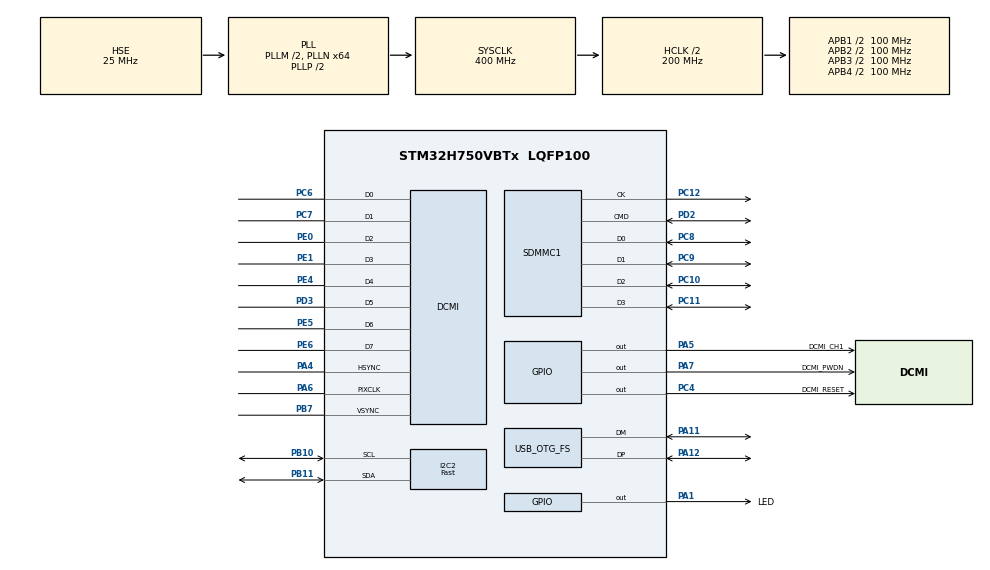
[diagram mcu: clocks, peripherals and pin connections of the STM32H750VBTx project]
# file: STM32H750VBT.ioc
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DCMI.JPEGMode=DCMI_JPEG_ENABLE
DCMI.PCKPolarity=DCMI_PCKPOLARITY_RISING
Dma.DCMI.0.Direction=DMA_PERIPH_TO_MEMORY
Dma.DCMI.0.EventEnable=DISABLE
Dma.DCMI.0.FIFOMode=DMA_FIFOMODE_ENABLE
Dma.DCMI.0.FIFOThreshold=DMA_FIFO_THRESHOLD_FULL
Dma.DCMI.0.Instance=DMA1_Stream0
Dma.DCMI.0.MemBurst=DMA_MBURST_SINGLE
Dma.DCMI.0.MemDataAlignment=DMA_MDATAALIGN_WORD
Dma.DCMI.0.MemInc=DMA_MINC_ENABLE
Dma.DCMI.0.Mode=DMA_CIRCULAR
Dma.DCMI.0.PeriphBurst=DMA_PBURST_SINGLE
Dma.DCMI.0.PeriphDataAlignment=DMA_PDATAALIGN_WORD
Dma.DCMI.0.PeriphInc=DMA_PINC_DISABLE
Dma.DCMI.0.Polarity=HAL_DMAMUX_REQ_GEN_RISING
Dma.DCMI.0.Priority=DMA_PRIORITY_VERY_HIGH
Dma.DCMI.0.RequestNumber=1
Dma.DCMI.0.SignalID=NONE
Dma.DCMI.0.SyncEnable=DISABLE
Dma.DCMI.0.SyncPolarity=HAL_DMAMUX_SYNC_NO_EVENT
Dma.DCMI.0.SyncRequestNumber=1
Dma.DCMI.0.SyncSignalID=NONE
Dma.Request0=DCMI
FATFS._CODE_PAGE=437
FATFS._USE_LFN=2
I2C2.I2C_Speed_Mode=I2C_Fast
I2C2.Timing=0x009034B6
Mcu.Family=STM32H7
Mcu.Name=STM32H750VBTx
Mcu.Package=LQFP100
NVIC.DCMI_IRQn=true\:0\:0\:false\:false\:true\:true\:true
NVIC.DMA1_Stream0_IRQn=true\:0\:0\:false\:false\:true\:false\:true
NVIC.OTG_FS_IRQn=true\:1\:0\:true\:false\:true\:false\:true
NVIC.PriorityGroup=NVIC_PRIORITYGROUP_4
NVIC.SDMMC1_IRQn=true\:0\:0\:false\:false\:true\:true\:true
PA1.GPIO_Label=LED
PA1.Signal=GPIO_Output
PA11.Mode=Device_Only
PA11.Signal=USB_OTG_FS_DM
PA12.Mode=Device_Only
PA12.Signal=USB_OTG_FS_DP
PA4.Mode=Slave_8_bits_External_Synchro
PA4.Signal=DCMI_HSYNC
PA5.GPIO_Label=DCMI_CH1
PA5.Signal=GPIO_Output
PA6.Mode=Slave_8_bits_External_Synchro
PA6.Signal=DCMI_PIXCLK
PA7.GPIO_Label=DCMI_PWDN
PA7.Signal=GPIO_Output
PB10.Mode=I2C
PB10.Signal=I2C2_SCL
PB11.Mode=I2C
PB11.Signal=I2C2_SDA
PB7.Mode=Slave_8_bits_External_Synchro
PB7.Signal=DCMI_VSYNC
PC10.GPIO_PuPd=GPIO_PULLUP
PC10.Mode=SD_4_bits_Wide_bus
PC10.Signal=SDMMC1_D2
PC11.GPIO_PuPd=GPIO_PULLUP
PC11.Mode=SD_4_bits_Wide_bus
PC11.Signal=SDMMC1_D3
PC12.Mode=SD_4_bits_Wide_bus
PC12.Signal=SDMMC1_CK
PC14-OSC32_IN\ (OSC32_IN).Mode=LSE-External-Oscillator
PC14-OSC32_IN\ (OSC32_IN).Signal=RCC_OSC32_IN
PC15-OSC32_OUT\ (OSC32_OUT).Mode=LSE-External-Oscillator
PC15-OSC32_OUT\ (OSC32_OUT).Signal=RCC_OSC32_OUT
PC4.GPIO_Label=DCMI_RESET
PC4.Signal=GPIO_Output
PC6.Mode=Slave_8_bits_External_Synchro
PC6.Signal=DCMI_D0
PC7.Mode=Slave_8_bits_External_Synchro
PC7.Signal=DCMI_D1
PC8.GPIO_PuPd=GPIO_PULLUP
PC8.Mode=SD_4_bits_Wide_bus
PC8.Signal=SDMMC1_D0
PC9.GPIO_PuPd=GPIO_PULLUP
PC9.Mode=SD_4_bits_Wide_bus
PC9.Signal=SDMMC1_D1
PD2.GPIO_PuPd=GPIO_PULLUP
PD2.Mode=SD_4_bits_Wide_bus
PD2.Signal=SDMMC1_CMD
PD3.Mode=Slave_8_bits_External_Synchro
PD3.Signal=DCMI_D5
PE0.Mode=Slave_8_bits_External_Synchro
PE0.Signal=DCMI_D2
PE1.Mode=Slave_8_bits_External_Synchro
PE1.Signal=DCMI_D3
PE4.Mode=Slave_8_bits_External_Synchro
PE4.Signal=DCMI_D4
PE5.Mode=Slave_8_bits_External_Synchro
PE5.Signal=DCMI_D6
PE6.Mode=Slave_8_bits_External_Synchro
PE6.Signal=DCMI_D7
PH0-OSC_IN\ (PH0).Mode=HSE-External-Oscillator
PH0-OSC_IN\ (PH0).Signal=RCC_OSC_IN
PH1-OSC_OUT\ (PH1).Mode=HSE-External-Oscillator
PH1-OSC_OUT\ (PH1).Signal=RCC_OSC_OUT
ProjectManager.HeapSize=0x4000
ProjectManager.StackSize=0x4000
ProjectManager.TargetToolchain=MDK-ARM V5.32
RCC.ADCFreq_Value=50390625
RCC.APB1Freq_Value=100000000
RCC.APB2Freq_Value=100000000
RCC.APB3Freq_Value=100000000
RCC.APB4Freq_Value=100000000
RCC.CortexFreq_Value=400000000
RCC.D1PPRE=RCC_APB3_DIV2
RCC.D2PPRE1=RCC_APB1_DIV2
RCC.D2PPRE2=RCC_APB2_DIV2
RCC.D3PPRE=RCC_APB4_DIV2
RCC.DIVM1=2
RCC.DIVN1=64
RCC.DIVQ1=50
RCC.HCLKFreq_Value=200000000
RCC.HPRE=RCC_HCLK_DIV2
RCC.PLL1_VCI_Range=RCC_PLL1VCIRANGE_3
RCC.PLL2FRACN=0
RCC.PLL3FRACN=0
RCC.PLLFRACN=0
RCC.PLLSourceVirtual=RCC_PLLSOURCE_HSE
RCC.PWR_Regulator_Voltage_Scale=PWR_REGULATOR_VOLTAGE_SCALE1
RCC.SYSCLKFreq_VALUE=400000000
RCC.SYSCLKSource=RCC_SYSCLKSOURCE_PLLCLK
RCC.USBCLockSelection=RCC_USBCLKSOURCE_HSI48
RCC.USBFreq_Value=48000000
SDMMC1.ClockDiv=0
USB_DEVICE.CLASS_NAME_FS=CDC
USB_DEVICE.VirtualMode-CDC_FS=Cdc
USB_DEVICE.VirtualModeFS=Cdc_FS
USB_OTG_FS.VirtualMode=Device_Only
VP_FATFS_VS_SDIO.Mode=SDIO
VP_USB_DEVICE_VS_USB_DEVICE_CDC_FS.Mode=CDC_FS
board=custom

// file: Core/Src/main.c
/* USER CODE BEGIN Header */
/**
 ******************************************************************************
 * @file           : main.c
 * @brief          : Main program body
 ******************************************************************************
 * @attention
 *
 * Copyright (c) 2021 STMicroelectronics.
 * All rights reserved.
 *
 * This software is licensed under terms that can be found in the LICENSE file
 * in the root directory of this software component.
 * If no LICENSE file comes with this software, it is provided AS-IS.
 *
 ******************************************************************************
 */
/* USER CODE END Header */
#include "main.h"
#include "dcmi.h"
#include "dma.h"
#include "fatfs.h"
#include "i2c.h"
#include "sdmmc.h"
#include "usb_device.h"
#include "gpio.h"

/* USER CODE BEGIN Includes */
#include <stdio.h>
#include "OV2640.h"
#include "usbd_cdc_if.h"

/* USER CODE END Includes */

/* USER CODE BEGIN PD */
#define MY_GET_TICK() printf("tick: %d\r\n", HAL_GetTick())
uint8_t jpgok = 0;

/* USER CODE END PD */

/* USER CODE BEGIN PV */
volatile uint8_t MY_USB_OK;

uint32_t byteswritten;                                /* File write counts */
uint32_t bytesread;                                   /* File read counts */
uint8_t wtext[] = "This is STM32 working with FatFs"; /* File write buffer */
uint8_t rtext[100];                                   /* File read buffers */
char filename[] = "0:s";

int sdcard_status = 0;
HAL_SD_CardCIDTypedef sdcard_cid;

/* USER CODE END PV */

void SystemClock_Config(void);

int main(void)
{

    /* MCU Configuration--------------------------------------------------------*/

    /* Reset of all peripherals, Initializes the Flash interface and the Systick. */
    HAL_Init();

    /* Configure the system clock */
    SystemClock_Config();

    /* Initialize all configured peripherals */
    MX_GPIO_Init();
    MX_DMA_Init();
    MX_USB_DEVICE_Init();
    MX_SDMMC1_SD_Init();
    MX_FATFS_Init();
    MX_DCMI_Init();
    MX_I2C2_Init();
    /* USER CODE BEGIN 2 */
    while (!MY_USB_OK)
        ;
    MY_USB_OK = 0;
    printf("Hello World! Wei\r\n");
    printf("****** FatFs Example ******\r\n");
    retSD = f_mount(&SDFatFS, "0:", 0);
    if (retSD)
    {
        printf("****** mount error: %d******\r\n", retSD);
    }
    else
        printf("****** mount success!!! ******\r\n");
    retSD = f_open(&SDFile, filename, FA_CREATE_ALWAYS | FA_WRITE);
    if (retSD)
    {
        printf("****** open file error: %d******\r\n", retSD);
    }
    else
        printf("****** open file success!!! ******\r\n");
    retSD = f_write(&SDFile, wtext, sizeof(wtext), (void *)&byteswritten);
    if (retSD)
    {
        printf("****** write file error: %d******\r\n", retSD);
    }
    else
        printf("****** write file success!!! ******\r\n");
    retSD = f_close(&SDFile);
    if (retSD)
    {
        printf("****** close file error: %d******\r\n", retSD);
    }
    else
        printf("****** close file success!!! ******\r\n");

    HAL_GPIO_WritePin(DCMI_PWDN_GPIO_Port, DCMI_PWDN_Pin, GPIO_PIN_RESET);
    HAL_GPIO_WritePin(DCMI_RESET_GPIO_Port, DCMI_RESET_Pin, GPIO_PIN_RESET);
    HAL_Delay(10);
    HAL_GPIO_WritePin(DCMI_RESET_GPIO_Port, DCMI_RESET_Pin, GPIO_PIN_SET);
    HAL_Delay(40);
    OV2640_Init(&hi2c2, &hdcmi);
    HAL_Delay(2000);
    StartOV2640();

    /* USER CODE END 2 */

    /* Infinite loop */
    while (1)
    {

        /* USER CODE BEGIN 3 */
        HAL_Delay(2000);
        HAL_GPIO_TogglePin(LED_GPIO_Port, LED_Pin);
    }
    /* USER CODE END 3 */
}

void SystemClock_Config(void)
{
    RCC_OscInitTypeDef RCC_OscInitStruct = {0};
    RCC_ClkInitTypeDef RCC_ClkInitStruct = {0};

    /** Supply configuration update enable
     */
    HAL_PWREx_ConfigSupply(PWR_LDO_SUPPLY);
    /** Configure the main internal regulator output voltage
     */
    __HAL_PWR_VOLTAGESCALING_CONFIG(PWR_REGULATOR_VOLTAGE_SCALE1);

    while (!__HAL_PWR_GET_FLAG(PWR_FLAG_VOSRDY))
    {
    }
    /** Initializes the RCC Oscillators according to the specified parameters
     * in the RCC_OscInitTypeDef structure.
     */
    RCC_OscInitStruct.OscillatorType = RCC_OSCILLATORTYPE_HSI48 | RCC_OSCILLATORTYPE_HSE;
    RCC_OscInitStruct.HSEState = RCC_HSE_ON;
    RCC_OscInitStruct.HSI48State = RCC_HSI48_ON;
    RCC_OscInitStruct.PLL.PLLState = RCC_PLL_ON;
    RCC_OscInitStruct.PLL.PLLSource = RCC_PLLSOURCE_HSE;
    RCC_OscInitStruct.PLL.PLLM = 2;
    RCC_OscInitStruct.PLL.PLLN = 64;
    RCC_OscInitStruct.PLL.PLLP = 2;
    RCC_OscInitStruct.PLL.PLLQ = 50;
    RCC_OscInitStruct.PLL.PLLR = 2;
    RCC_OscInitStruct.PLL.PLLRGE = RCC_PLL1VCIRANGE_3;
    RCC_OscInitStruct.PLL.PLLVCOSEL = RCC_PLL1VCOWIDE;
    RCC_OscInitStruct.PLL.PLLFRACN = 0;
    if (HAL_RCC_OscConfig(&RCC_OscInitStruct) != HAL_OK)
    {
        Error_Handler();
    }
    /** Initializes the CPU, AHB and APB buses clocks
     */
    RCC_ClkInitStruct.ClockType = RCC_CLOCKTYPE_HCLK | RCC_CLOCKTYPE_SYSCLK | RCC_CLOCKTYPE_PCLK1 |
                                  RCC_CLOCKTYPE_PCLK2 | RCC_CLOCKTYPE_D3PCLK1 | RCC_CLOCKTYPE_D1PCLK1;
    RCC_ClkInitStruct.SYSCLKSource = RCC_SYSCLKSOURCE_PLLCLK;
    RCC_ClkInitStruct.SYSCLKDivider = RCC_SYSCLK_DIV1;
    RCC_ClkInitStruct.AHBCLKDivider = RCC_HCLK_DIV2;
    RCC_ClkInitStruct.APB3CLKDivider = RCC_APB3_DIV2;
    RCC_ClkInitStruct.APB1CLKDivider = RCC_APB1_DIV2;
    RCC_ClkInitStruct.APB2CLKDivider = RCC_APB2_DIV2;
    RCC_ClkInitStruct.APB4CLKDivider = RCC_APB4_DIV2;

    if (HAL_RCC_ClockConfig(&RCC_ClkInitStruct, FLASH_LATENCY_2) != HAL_OK)
    {
        Error_Handler();
    }
}

/* USER CODE BEGIN 4 */
int fputc(int ch, FILE *f)
{
    while (!(CDC_Transmit_FS((uint8_t *)&ch, 1) == USBD_OK))
        ;
    return ch;
}

/* USER CODE END 4 */

void Error_Handler(void)
{
    __disable_irq();
    while (1)
    {
    }
}
